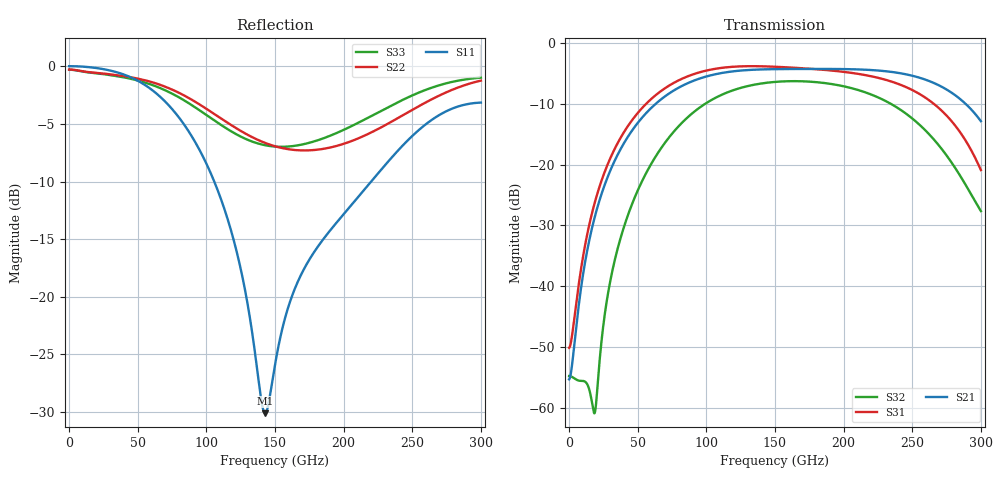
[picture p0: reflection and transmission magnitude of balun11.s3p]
! Created with skrf (http://scikit-rf.org).
# Hz S RI R 50.0
!freq ReS11 ImS11 ReS12 ImS12 ReS13 ImS13
! ReS21 ImS21 ReS22 ImS22 ReS23 ImS23
! ReS31 ImS31 ReS32 ImS32 ReS33 ImS33
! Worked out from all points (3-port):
!   3000 points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, 100 MHz to 300 GHz, reference 50 ohm
!   strongest paths, dB at 100 MHz, 75.1 GHz, 150.1 GHz, 225.1 GHz, 300 GHz:
!     S21: -55.3, -7.9, -4.3, -4.5, -12.8
!     S31: -50.1, -6.7, -3.9, -5.7, -20.9
!     S32: -54.8, -14.9, -6.4, -8.9, -27.6
!   lowest |S11| = -30.1 dB at 142.9 GHz (marker M1), VSWR 1.06, Z = 47.3 + j1.43 ohm
!   |S11| at or under -10 dB: 105.8 GHz to 220.1 GHz (114.3 GHz wide, 70.2 % of centre)
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1e8  1.003 -0.0054  4.43e-05 -3.01e-06  -0.000168 2.1e-05
     0.00171 -2.11e-05  -0.9697 0.0023  0.00182 1.17e-05
     -0.00311 6.01e-05  0.00182 1.17e-05  -0.9681 0.00241
9.2e9  0.88 -0.4729  0.00844 -0.00317  -0.0109 0.00636
       0.00937 -0.00459  -0.9341 0.1971  0.00121 0.00114
       -0.0119 0.00892  0.00121 0.00114  -0.9294 0.2068
1.89e10  0.5351 -0.8286  0.0289 -0.0238  -0.0334 0.0363
         0.0279 -0.0253  -0.8629 0.3715  -0.000631 0.000665
         -0.0316 0.0379  -0.000631 0.000664  -0.8508 0.3884
3.08e10  -0.00812 -0.9575  0.0417 -0.0852  -0.0398 0.1128
         0.0404 -0.0844  -0.7323 0.5614  -0.0117 -0.0031
         -0.0384 0.1115  -0.0117 -0.0031  -0.7063 0.582
5.6e10  -0.7336 -0.3794  -0.1047 -0.2424  0.1483 0.278
        -0.1041 -0.2435  -0.3216 0.8072  -0.0801 0.0271
        0.1479 0.2793  -0.0801 0.0271  -0.266 0.806
8.52e10  -0.462 0.2876  -0.4508 -0.1027  0.5196 0.0909
         -0.4513 -0.1013  0.1835 0.7177  -0.1039 0.2149
         0.52 0.0893  -0.1039 0.2149  0.2244 0.6677
1.429e11  -0.0272 0.0151  -0.1398 0.5942  0.1457 -0.6288
          -0.1386 0.5948  0.429 0.1799  0.3962 0.2561
          0.1445 -0.6294  0.3962 0.2561  0.4246 0.1622
1.501e11  -0.0488 -0.0138  -0.0411 0.6113  0.0433 -0.6398
          -0.0397 0.6116  0.4282 0.1382  0.4401 0.1944
          0.0419 -0.64  0.4401 0.1944  0.431 0.124
2.229e11  -0.3307 -0.00865  0.6003 0.0291  -0.5279 -0.029
          0.5992 0.0266  0.415 -0.324  0.1497 -0.3362
          -0.5264 -0.0269  0.1496 -0.336  0.3888 -0.4842
3e11  0.3165 0.6205  -0.1013 -0.2086  0.0117 0.0912
      -0.0975 -0.2068  -0.5694 -0.6548  -0.0405 0.00934
      0.00932 0.09  -0.0405 0.00931  -0.792 -0.4146
